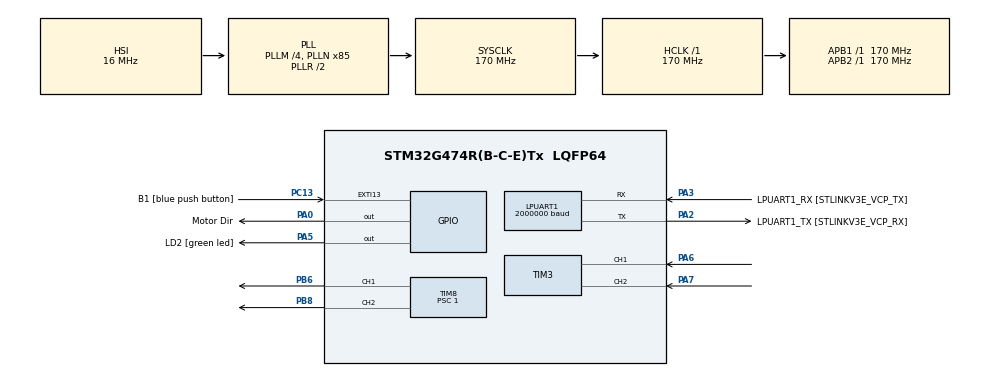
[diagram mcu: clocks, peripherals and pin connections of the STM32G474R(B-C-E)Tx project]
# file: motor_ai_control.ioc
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Dma.LPUART1_RX.0.Direction=DMA_PERIPH_TO_MEMORY
Dma.LPUART1_RX.0.EventEnable=DISABLE
Dma.LPUART1_RX.0.Instance=DMA1_Channel1
Dma.LPUART1_RX.0.MemDataAlignment=DMA_MDATAALIGN_BYTE
Dma.LPUART1_RX.0.MemInc=DMA_MINC_ENABLE
Dma.LPUART1_RX.0.Mode=DMA_CIRCULAR
Dma.LPUART1_RX.0.PeriphDataAlignment=DMA_PDATAALIGN_BYTE
Dma.LPUART1_RX.0.PeriphInc=DMA_PINC_DISABLE
Dma.LPUART1_RX.0.Polarity=HAL_DMAMUX_REQ_GEN_RISING
Dma.LPUART1_RX.0.Priority=DMA_PRIORITY_VERY_HIGH
Dma.LPUART1_RX.0.RequestNumber=1
Dma.LPUART1_RX.0.SignalID=NONE
Dma.LPUART1_RX.0.SyncEnable=DISABLE
Dma.LPUART1_RX.0.SyncPolarity=HAL_DMAMUX_SYNC_NO_EVENT
Dma.LPUART1_RX.0.SyncRequestNumber=1
Dma.LPUART1_RX.0.SyncSignalID=NONE
Dma.LPUART1_TX.1.Direction=DMA_MEMORY_TO_PERIPH
Dma.LPUART1_TX.1.EventEnable=DISABLE
Dma.LPUART1_TX.1.Instance=DMA1_Channel2
Dma.LPUART1_TX.1.MemDataAlignment=DMA_MDATAALIGN_BYTE
Dma.LPUART1_TX.1.MemInc=DMA_MINC_ENABLE
Dma.LPUART1_TX.1.Mode=DMA_NORMAL
Dma.LPUART1_TX.1.PeriphDataAlignment=DMA_PDATAALIGN_BYTE
Dma.LPUART1_TX.1.PeriphInc=DMA_PINC_DISABLE
Dma.LPUART1_TX.1.Polarity=HAL_DMAMUX_REQ_GEN_RISING
Dma.LPUART1_TX.1.Priority=DMA_PRIORITY_VERY_HIGH
Dma.LPUART1_TX.1.RequestNumber=1
Dma.LPUART1_TX.1.SignalID=NONE
Dma.LPUART1_TX.1.SyncEnable=DISABLE
Dma.LPUART1_TX.1.SyncPolarity=HAL_DMAMUX_SYNC_NO_EVENT
Dma.LPUART1_TX.1.SyncRequestNumber=1
Dma.LPUART1_TX.1.SyncSignalID=NONE
Dma.Request0=LPUART1_RX
Dma.Request1=LPUART1_TX
FREERTOS.Tasks01=defaultTask,24,3000,StartDefaultTask,As weak,NULL,Static,defaultTaskBuffer,defaultTaskControlBlock
FREERTOS.configENABLE_FPU=1
IWDG.Reload=2499
LPUART1.BaudRate=2000000
Mcu.Family=STM32G4
Mcu.Name=STM32G474R(B-C-E)Tx
Mcu.Package=LQFP64
NVIC.DMA1_Channel1_IRQn=true\:5\:0\:false\:false\:true\:true\:false\:true\:true
NVIC.DMA1_Channel2_IRQn=true\:5\:0\:false\:false\:true\:true\:false\:true\:true
NVIC.EXTI15_10_IRQn=true\:5\:0\:false\:false\:true\:true\:true\:true\:true
NVIC.LPUART1_IRQn=true\:5\:0\:false\:false\:true\:true\:true\:true\:true
NVIC.PriorityGroup=NVIC_PRIORITYGROUP_4
NVIC.TIM1_UP_TIM16_IRQn=true\:15\:0\:false\:false\:true\:false\:false\:true\:true
NVIC.TIM5_IRQn=true\:5\:0\:false\:false\:true\:true\:true\:true\:true
NVIC.TimeBase=TIM1_UP_TIM16_IRQn
NVIC.TimeBaseIP=TIM1
PA0.GPIO_Label=Motor Dir
PA0.Signal=GPIO_Output
PA13.GPIO_Label=T_SWDIO
PA13.Signal=SYS_JTMS-SWDIO
PA14.GPIO_Label=T_SWCLK
PA14.Signal=SYS_JTCK-SWCLK
PA2.GPIO_Label=LPUART1_TX [STLINKV3E_VCP_RX]
PA2.Mode=Asynchronous
PA2.Signal=LPUART1_TX
PA3.GPIO_Label=LPUART1_RX [STLINKV3E_VCP_TX]
PA3.Mode=Asynchronous
PA3.Signal=LPUART1_RX
PA5.GPIO_Label=LD2 [green led]
PA5.Signal=GPIO_Output
PA6.Signal=S_TIM3_CH1
PA7.Signal=S_TIM3_CH2
PB3.GPIO_Label=T_SWO
PB3.Signal=SYS_JTDO-SWO
PB6.Signal=S_TIM8_CH1
PB8-BOOT0.Signal=S_TIM8_CH2
PC13.GPIO_Label=B1 [blue push button]
PC13.Signal=GPXTI13
PC14-OSC32_IN.GPIO_Label=RCC_OSC32_IN
PC14-OSC32_IN.Signal=RCC_OSC32_IN
PC15-OSC32_OUT.GPIO_Label=RCC_OSC32_OUT
PC15-OSC32_OUT.Signal=RCC_OSC32_OUT
PF0-OSC_IN.GPIO_Label=RCC_OSC_IN
PF0-OSC_IN.Signal=RCC_OSC_IN
PF1-OSC_OUT.GPIO_Label=RCC_OSC_OUT
PF1-OSC_OUT.Signal=RCC_OSC_OUT
ProjectManager.HeapSize=0x200
ProjectManager.StackSize=0x400
ProjectManager.TargetToolchain=STM32CubeIDE
RCC.ADC12Freq_Value=170000000
RCC.ADC345Freq_Value=170000000
RCC.AHBFreq_Value=170000000
RCC.APB1Freq_Value=170000000
RCC.APB1TimFreq_Value=170000000
RCC.APB2Freq_Value=170000000
RCC.APB2TimFreq_Value=170000000
RCC.CortexFreq_Value=170000000
RCC.EXTERNAL_CLOCK_VALUE=12288000
RCC.HCLKFreq_Value=170000000
RCC.HSE_VALUE=24000000
RCC.HSI48_VALUE=48000000
RCC.HSI_VALUE=16000000
RCC.LSE_VALUE=32768
RCC.PLLM=RCC_PLLM_DIV4
RCC.PLLN=85
RCC.RTCClockSelection=RCC_RTCCLKSOURCE_LSE
RCC.SYSCLKFreq_VALUE=170000000
RCC.SYSCLKSource=RCC_SYSCLKSOURCE_PLLCLK
RCC.USBFreq_Value=170000000
RCC.VCOOutputFreq_Value=340000000
SH.S_TIM3_CH1.0=TIM3_CH1,Encoder_Interface
SH.S_TIM3_CH2.0=TIM3_CH2,Encoder_Interface
SH.S_TIM8_CH1.0=TIM8_CH1,PWM Generation1 CH1
SH.S_TIM8_CH2.0=TIM8_CH2,PWM Generation2 CH2
TIM3.EncoderMode=TIM_ENCODERMODE_TI12
TIM5.Prescaler=169
TIM8.Channel-PWM\ Generation1\ CH1=TIM_CHANNEL_1
TIM8.Channel-PWM\ Generation2\ CH2=TIM_CHANNEL_2
TIM8.Prescaler=1
VP_FREERTOS_VS_CMSIS_V2.Mode=CMSIS_V2
VP_IWDG_VS_IWDG.Mode=IWDG_Activate
VP_SYS_VS_DBSignals.Mode=DisableDeadBatterySignals
VP_SYS_VS_tim1.Mode=TIM1
VP_TIM4_VS_ClockSourceINT.Mode=Internal
VP_TIM5_VS_ClockSourceINT.Mode=Internal
VP_TIM8_VS_ClockSourceINT.Mode=Internal
board=NUCLEO-G474RE

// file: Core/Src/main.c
/* USER CODE BEGIN Header */
/**
  ******************************************************************************
  * @file           : main.c
  * @brief          : Main program body
  ******************************************************************************
  * @attention
  *
  * Copyright (c) 2025 STMicroelectronics.
  * All rights reserved.
  *
  * This software is licensed under terms that can be found in the LICENSE file
  * in the root directory of this software component.
  * If no LICENSE file comes with this software, it is provided AS-IS.
  *
  ******************************************************************************
  */
/* USER CODE END Header */
#include "main.h"
#include "cmsis_os.h"
#include "dma.h"
#include "iwdg.h"
#include "usart.h"
#include "tim.h"
#include "gpio.h"

/* USER CODE BEGIN Includes */
#include <rcl/rcl.h>
#include <rcl/error_handling.h>
#include <rclc/rclc.h>
#include <rclc/executor.h>
#include <uxr/client/transport.h>
#include <rmw_microxrcedds_c/config.h>
#include <rmw_microros/rmw_microros.h>
#include <rcl/init_options.h>
#include <std_msgs/msg/int32.h>
#include <std_msgs/msg/float32_multi_array.h>
#include <math.h>

/* USER CODE END Includes */

/* USER CODE BEGIN PM */
#define RCSOFTCHECK(fn) if (fn != RCL_RET_OK) {};
/* USER CODE END PM */

/* USER CODE BEGIN PV */

//==========ROS2 configuration==========
	rclc_support_t support;
	rcl_allocator_t allocator;
	rcl_node_t node;
	rcl_init_options_t init_options;

	rcl_timer_t timer;
	rcl_timer_t timer1;
	rclc_executor_t executor;

	// ------- Publisher -------
	// pub feedback from motor ['pos', 'vel', ]
	rcl_publisher_t feedback_pub;
	std_msgs__msg__Float32MultiArray feedback_pub_msg;

	// ------- Subscriber -------
	// Reference command ['pos_ref', 'vel_ref', 'torque_ref']
	rcl_subscription_t ref_sub;
	std_msgs__msg__Float32MultiArray ref_sub_msg;

	// Gain ['Kp', 'Kd', 'Kt', 'Ke', 'R']
	rcl_subscription_t gain_sub;
	std_msgs__msg__Float32MultiArray gain_sub_msg;

	// RL Policy action / command (Voltage)
	rcl_subscription_t rl_action_sub;
	std_msgs__msg__Float32MultiArray rl_action_msg;

//======Parameter configuration======
	// Counter Period
	#define PERIOD_CONST            65535
	#define MOTOR_INIT_PERIOD_CONST 2300
	#define V_MAX					12

	static const int pwm_operated = PERIOD_CONST - MOTOR_INIT_PERIOD_CONST;

	// QEI read
	uint32_t QEIReadRaw;
	float pos_rad = 0; // pos in rad 1 round
	float pos_rad_full = 0; // pos in rad 21 round

	// Motor feedback variable
	typedef struct
	{
	uint32_t Position[2];
	uint64_t TimeStamp[2];
	float QEIPostion_1turn;
	float QEIAngularVelocity;
	}QEI_StructureTypeDef;
	QEI_StructureTypeDef QEIdata = {0};
	QEI_StructureTypeDef QEI_ROS = {0};

	uint64_t _micros = 0;
	enum {
	NEW, OLD
	};

	// Motor control variable
	int32_t pwm_value = 0;
	float vol_pos = 0.0f;
	float vol_cmd = 0.0f;
	float vol_torque = 0.0f;
	float vol_vel = 0.0f;

	// Temp var
	float loop_period_us = 0.0f;
	float loop_freq = 0.0f;
	uint64_t last_time_us = 0;

/* USER CODE END PV */

void SystemClock_Config(void);
void MX_FREERTOS_Init(void);
/* USER CODE BEGIN PFP */
	bool cubemx_transport_open(struct uxrCustomTransport *transport);
	bool cubemx_transport_close(struct uxrCustomTransport *transport);
	size_t cubemx_transport_write(struct uxrCustomTransport *transport,
			const uint8_t *buf, size_t len, uint8_t *err);
	size_t cubemx_transport_read(struct uxrCustomTransport *transport, uint8_t *buf,
			size_t len, int timeout, uint8_t *err);

	void* microros_allocate(size_t size, void *state);
	void microros_deallocate(void *pointer, void *state);
	void* microros_reallocate(void *pointer, size_t size, void *state);
	void* microros_zero_allocate(size_t number_of_elements, size_t size_of_element,
			void *state);

	uint64_t micros();
	void QEIEncoderPosVel_Update();
/* USER CODE END PFP */

/* USER CODE BEGIN 0 */

// MIT Controller calculation function
void MIT_Controller_Update(void)
{
	// ref
	float pos_ref = ref_sub_msg.data.data[0];
	float vel_ref = ref_sub_msg.data.data[1];
	float torque_ref = ref_sub_msg.data.data[2];

	// feedback
	float pos = pos_rad_full;
	float vel = QEIdata.QEIAngularVelocity;

	// gain
	float Kp = gain_sub_msg.data.data[0];
	float Kd = gain_sub_msg.data.data[1];
	float Kt = gain_sub_msg.data.data[2];
	float Ke = gain_sub_msg.data.data[3];
	float R = gain_sub_msg.data.data[4];
	if (Kt == 0.0) Kt = 1e-13;

// if ((pos_ref - pos) < (pos + 3071 - pos_ref)) // clockwise ch1 > ch2
// {
	//===== MIT controller (Comment this if using RL policy)======
//	vol_pos = (pos_ref - pos) * Kp;
//	vol_vel = (vel_ref - vel) * Kd;
//	vol_torque = torque_ref * R / Kt;
////	   vol_torque = (Ke * vel) + (torque_ref * R / Kt);
//	vol_cmd = vol_torque + vol_pos + vol_vel;

	//===== RL policy (Comment this if using MIT controller)=====
	vol_cmd = rl_action_msg.data.data[0];

	//====== V_out Saturate ======
	if (vol_cmd > 12) {
	 vol_cmd = 12;
	} else if (vol_cmd < -12) {
	 vol_cmd = -12;
	}

	// Apply voltage to motor (convert to PWM value)
	pwm_value = (vol_cmd / 12) * PERIOD_CONST;	// Mapping V_cmd to PWM in range

	// Set motor control
	if (pwm_value >= 0) {
		__HAL_TIM_SET_COMPARE(&htim8, TIM_CHANNEL_1, pwm_value);
		HAL_GPIO_WritePin(GPIOA, GPIO_PIN_0, GPIO_PIN_SET);
	}
	else {
		__HAL_TIM_SET_COMPARE(&htim8, TIM_CHANNEL_1, abs(pwm_value));
		HAL_GPIO_WritePin(GPIOA, GPIO_PIN_0, GPIO_PIN_RESET);
	}
}

// Micro-second
uint64_t micros() {
	return __HAL_TIM_GET_COUNTER(&htim5) + _micros;
}

// Calculate pos and velo from encoder
void QEIEncoderPosVel_Update()
{
	// collect data
	QEIdata.TimeStamp[NEW] = micros();
	QEIdata.Position[NEW] = __HAL_TIM_GET_COUNTER(&htim3);

	// Position 1 turn calculation
//	QEIdata.QEIPostion_1turn = QEIdata.Position[NEW] % 3072;

	// calculate dx
	int32_t diffPosition = QEIdata.Position[NEW] - QEIdata.Position[OLD];

	// Handle Warp around
	if (diffPosition > (65535 / 2))
		diffPosition -= 65535;
	else if (diffPosition < -(65535 / 2))
		diffPosition += 65535;

	// calculate dt
	float diffTime = (QEIdata.TimeStamp[NEW] - QEIdata.TimeStamp[OLD]) * 0.000001;

	// calculate anglar velocity
	QEIdata.QEIAngularVelocity = (float) diffPosition / diffTime / 3072.0 * 2 * M_PI;

	// store value for next loop
	QEIdata.Position[OLD] = QEIdata.Position[NEW];
	QEIdata.TimeStamp[OLD] = QEIdata.TimeStamp[NEW];
}

void timer_callback(rcl_timer_t * timer, int64_t last_call_time) //1000
{
	// Control loop (1000Hz)
	uint64_t now_us = micros();
    if (last_time_us != 0) {
        uint64_t dt_us_u64 = now_us - last_time_us;   // safe wrap-around on uint64_t
        loop_period_us = (float)dt_us_u64;            // convert AFTER subtraction
        if (loop_period_us > 0.0f) {
            loop_freq = 1e6f / loop_period_us;
        }
    }
    last_time_us = now_us;

	QEIReadRaw = __HAL_TIM_GET_COUNTER(&htim3);

	QEIEncoderPosVel_Update();
	pos_rad_full = (QEIdata.Position[NEW] / 3072.0) * 2 * M_PI;

	pos_rad = (QEIReadRaw%3072)/3072.0 * 2 * M_PI; // maybe use 2pi = 6.28318530718 instead
	pos_rad_full = QEIReadRaw/3072.0 * 2 * M_PI;

	MIT_Controller_Update();

	HAL_IWDG_Refresh(&hiwdg);

//	// call every 0.1 s
//	static uint64_t timestamp = 0;
//	int64_t currentTime = micros();
//	if (currentTime > timestamp)
//	{
//		timestamp = currentTime + 100000; //us
//		QEIEncoderPosVel_Update();
//	}
}

void timer_callback1(rcl_timer_t * timer, int64_t last_call_time) //100
{
	// Update pos, velo & Publish feedback (100hz)
	feedback_pub_msg.data.data[0] = pos_rad;
	feedback_pub_msg.data.data[1] = QEIdata.QEIAngularVelocity;

	// Add voltage comand
	feedback_pub_msg.data.data[2] = vol_cmd;
	RCSOFTCHECK(rcl_publish(&feedback_pub, &feedback_pub_msg, NULL));
}

void reference_subscription_callback(const void * msgin)
{
  // Cast received message to used type
  const std_msgs__msg__Float32MultiArray * ref_sub_msg = (const std_msgs__msg__Float32MultiArray *)msgin;

//  step = ref_sub_msg->data;
}

void gain_subscription_callback(const void * msgin)
{
  // Cast received message to used type
  const std_msgs__msg__Float32MultiArray * gain_sub_msg = (const std_msgs__msg__Float32MultiArray *)msgin;

//  step = ref_sub_msg->data;
}

void rl_action_subscription_callback(const void * msgin)
{
  // Cast received message to used type
  const std_msgs__msg__Float32MultiArray * rl_action_msg = (const std_msgs__msg__Float32MultiArray *)msgin;

}

void StartDefaultTask(void *argument)
{
  /* USER CODE BEGIN 5 */

  // micro-ROS configuration

  rmw_uros_set_custom_transport(
    true,
    (void *) &hlpuart1,
    cubemx_transport_open,
    cubemx_transport_close,
    cubemx_transport_write,
    cubemx_transport_read);

  rcl_allocator_t freeRTOS_allocator = rcutils_get_zero_initialized_allocator();
  freeRTOS_allocator.allocate = microros_allocate;
  freeRTOS_allocator.deallocate = microros_deallocate;
  freeRTOS_allocator.reallocate = microros_reallocate;
  freeRTOS_allocator.zero_allocate =  microros_zero_allocate;

  if (!rcutils_set_default_allocator(&freeRTOS_allocator)) {
      printf("Error on default allocators (line %d)\n", __LINE__);
  }

  // micro-ROS app
  allocator = rcl_get_default_allocator();

  //create init_options
  // Initialize and modify options (Set DOMAIN ID to 16)
  init_options = rcl_get_zero_initialized_init_options();
  RCSOFTCHECK(rcl_init_options_init(&init_options, allocator));
  RCSOFTCHECK(rcl_init_options_set_domain_id(&init_options, 16));

  rclc_support_init_with_options(&support, 0, NULL, &init_options, &allocator);

  // create node
  rclc_node_init_default(&node, "motor_node", "", &support);

  // create timer
  rclc_timer_init_default(
	  &timer,
	  &support,
	  RCL_MS_TO_NS(1),
	  timer_callback
  );

  rclc_timer_init_default(
  	  &timer1,
  	  &support,
  	  RCL_MS_TO_NS(10),
  	  timer_callback1
    );

  // create publisher for feedback pos, vel
//  feedback_pub_msg.data.capacity = 2;  // จำนวนข้อมูลสูงสุด ['pos', 'vel']
//  feedback_pub_msg.data.size = 2;      // จำนวนข้อมูลที่จะส่ง

  feedback_pub_msg.data.capacity = 3;  // จำนวนข้อมูลสูงสุด ['pos', 'vel', 'vol_cmd']
  feedback_pub_msg.data.size = 3;

  feedback_pub_msg.data.data = (float*) malloc(feedback_pub_msg.data.capacity * sizeof(float));

  rclc_publisher_init_default(
  	  &feedback_pub,
  	  &node,
  	  ROSIDL_GET_MSG_TYPE_SUPPORT(std_msgs, msg, Float32MultiArray),
  	  "motor_feedback_publisher"
  );

  // create subscription for command
  ref_sub_msg.data.capacity = 3;  // จำนวนข้อมูลสูงสุด ['pos', 'vel', 'torque']
  ref_sub_msg.data.size = 3;      // จำนวนข้อมูลที่จะส่ง
  ref_sub_msg.data.data = (float*) malloc(ref_sub_msg.data.capacity * sizeof(float));
  // Initialize with default values
  if (ref_sub_msg.data.data != NULL) {
	  ref_sub_msg.data.data[0] = 0.0f;
	  ref_sub_msg.data.data[1] = 0.0f;
	  ref_sub_msg.data.data[2] = 0.0f;
  }
  // rcl_ret_t rc = rclc_subscription_init_default(&ref_sub, &node, type_support, topic_name);
  rcl_ret_t rc = rclc_subscription_init_default(
	  &ref_sub,
	  &node,
	  ROSIDL_GET_MSG_TYPE_SUPPORT(std_msgs, msg, Float32MultiArray),
	  "reference_subscription"
  );

  // create subscription for gain
  gain_sub_msg.data.capacity = 5;  // จำนวนข้อมูลสูงสุด ['Kp', 'Kd', 'Kt', 'Ke', 'r']
  gain_sub_msg.data.size = 5;      // จำนวนข้อมูลที่จะส่ง
  gain_sub_msg.data.data = (float*) malloc(gain_sub_msg.data.capacity * sizeof(float));

  // Initialize with default values
  if (gain_sub_msg.data.data != NULL) {
    gain_sub_msg.data.data[0] = 2.0f;  // Kp 2
    gain_sub_msg.data.data[1] = 1.0f;  // Kd 1
    gain_sub_msg.data.data[2] = 0.0146f * 64.0;  // Kt 0.0146
    gain_sub_msg.data.data[3] = 0.0134f * 64.0;  // Ke 0.0134
    gain_sub_msg.data.data[4] = 1.93f;  // R 1.93
  }

  // create subscription for RL action
  rl_action_msg.data.capacity = 1;  // จำนวนข้อมูลสูงสุด ['pos', 'vel', 'torque']
  rl_action_msg.data.size = 1;      // จำนวนข้อมูลที่จะส่ง
  rl_action_msg.data.data = (float*) malloc(rl_action_msg.data.capacity * sizeof(float));
  // Initialize with default values
  if (rl_action_msg.data.data != NULL) {
	  rl_action_msg.data.data[0] = 0.0f;
  }

  rcl_ret_t rl = rclc_subscription_init_default(
	  &rl_action_sub,
	  &node,
	  ROSIDL_GET_MSG_TYPE_SUPPORT(std_msgs, msg, Float32MultiArray),
	  "rl_action_subscription"
  );

  // rcl_ret_t rc = rclc_subscription_init_default(&ref_sub, &node, type_support, topic_name);
  rcl_ret_t puku = rclc_subscription_init_default(
  	  &gain_sub,
  	  &node,
  	  ROSIDL_GET_MSG_TYPE_SUPPORT(std_msgs, msg, Float32MultiArray),
  	  "gain_subscription"
  );

  // create executor
  executor = rclc_executor_get_zero_initialized_executor();
  rclc_executor_init(&executor, &support.context, 5, &allocator);
  rclc_executor_set_timeout(&executor, RCL_MS_TO_NS(1));
  rclc_executor_add_timer(&executor, &timer);
  rclc_executor_add_timer(&executor, &timer1);

  // rclc_executor_add_subscription(&executor, &subscriber, &msg, &subscription_callback, ON_NEW_DATA);
  // rclc executor for reference
  rclc_executor_add_subscription(
	  &executor,
	  &ref_sub,
	  &ref_sub_msg,
	  &reference_subscription_callback,
	  ON_NEW_DATA
  );

  // rclc executor for gain
  rclc_executor_add_subscription(
  	  &executor,
  	  &gain_sub,
  	  &gain_sub_msg,
  	  &gain_subscription_callback,
  	  ON_NEW_DATA
    );

  // rclc executor for gain
  rclc_executor_add_subscription(
  	  &executor,
  	  &rl_action_sub,
  	  &rl_action_msg,
  	  &rl_action_subscription_callback,
  	  ON_NEW_DATA
    );

  // create message
//  pub_msg.data = 0;
  rclc_executor_spin(&executor);

  for(;;)
  {
//  rclc_executor_spin_some(&executor, RCL_MS_TO_NS(1));
    osDelay(1);
  }

  /* USER CODE END 5 */
}
/* USER CODE END 0 */

int main(void)
{

  /* MCU Configuration--------------------------------------------------------*/

  /* Reset of all peripherals, Initializes the Flash interface and the Systick. */
  HAL_Init();

  /* Configure the system clock */
  SystemClock_Config();

  /* Initialize all configured peripherals */
  MX_GPIO_Init();
  MX_DMA_Init();
  MX_LPUART1_UART_Init();
  MX_IWDG_Init();
  MX_TIM3_Init();
  MX_TIM4_Init();
  MX_TIM8_Init();
  MX_TIM5_Init();
  /* USER CODE BEGIN 2 */
  // control motor
  HAL_TIM_Base_Start(&htim8);
  HAL_TIM_PWM_Start(&htim8, TIM_CHANNEL_1);
  HAL_TIM_PWM_Start(&htim8, TIM_CHANNEL_2);

  // motor pos
  HAL_TIM_Encoder_Start(&htim3,TIM_CHANNEL_ALL);

  // motor vel
  HAL_TIM_Encoder_Start(&htim3,TIM_CHANNEL_ALL);
  HAL_TIM_Base_Start_IT(&htim5);
  /* USER CODE END 2 */

  /* Init scheduler */
  osKernelInitialize();  /* Call init function for freertos objects (in cmsis_os2.c) */
  MX_FREERTOS_Init();

  /* Start scheduler */
  osKernelStart();

  /* We should never get here as control is now taken by the scheduler */

  /* Infinite loop */
  while (1)
  {

  }
}

void SystemClock_Config(void)
{
  RCC_OscInitTypeDef RCC_OscInitStruct = {0};
  RCC_ClkInitTypeDef RCC_ClkInitStruct = {0};

  /** Configure the main internal regulator output voltage
  */
  HAL_PWREx_ControlVoltageScaling(PWR_REGULATOR_VOLTAGE_SCALE1_BOOST);

  /** Initializes the RCC Oscillators according to the specified parameters
  * in the RCC_OscInitTypeDef structure.
  */
  RCC_OscInitStruct.OscillatorType = RCC_OSCILLATORTYPE_HSI|RCC_OSCILLATORTYPE_LSI;
  RCC_OscInitStruct.HSIState = RCC_HSI_ON;
  RCC_OscInitStruct.HSICalibrationValue = RCC_HSICALIBRATION_DEFAULT;
  RCC_OscInitStruct.LSIState = RCC_LSI_ON;
  RCC_OscInitStruct.PLL.PLLState = RCC_PLL_ON;
  RCC_OscInitStruct.PLL.PLLSource = RCC_PLLSOURCE_HSI;
  RCC_OscInitStruct.PLL.PLLM = RCC_PLLM_DIV4;
  RCC_OscInitStruct.PLL.PLLN = 85;
  RCC_OscInitStruct.PLL.PLLP = RCC_PLLP_DIV2;
  RCC_OscInitStruct.PLL.PLLQ = RCC_PLLQ_DIV2;
  RCC_OscInitStruct.PLL.PLLR = RCC_PLLR_DIV2;
  if (HAL_RCC_OscConfig(&RCC_OscInitStruct) != HAL_OK)
  {
    Error_Handler();
  }

  /** Initializes the CPU, AHB and APB buses clocks
  */
  RCC_ClkInitStruct.ClockType = RCC_CLOCKTYPE_HCLK|RCC_CLOCKTYPE_SYSCLK
                              |RCC_CLOCKTYPE_PCLK1|RCC_CLOCKTYPE_PCLK2;
  RCC_ClkInitStruct.SYSCLKSource = RCC_SYSCLKSOURCE_PLLCLK;
  RCC_ClkInitStruct.AHBCLKDivider = RCC_SYSCLK_DIV1;
  RCC_ClkInitStruct.APB1CLKDivider = RCC_HCLK_DIV1;
  RCC_ClkInitStruct.APB2CLKDivider = RCC_HCLK_DIV1;

  if (HAL_RCC_ClockConfig(&RCC_ClkInitStruct, FLASH_LATENCY_4) != HAL_OK)
  {
    Error_Handler();
  }
}

void HAL_TIM_PeriodElapsedCallback(TIM_HandleTypeDef *htim)
{
  if (htim->Instance == TIM1)
  {
    HAL_IncTick();
  }
  /* USER CODE BEGIN Callback 1 */

  if (htim == &htim5)
  {
	  _micros += UINT32_MAX;
  }

  /* USER CODE END Callback 1 */
}

void Error_Handler(void)
{
  __disable_irq();
  while (1)
  {
  }
}
